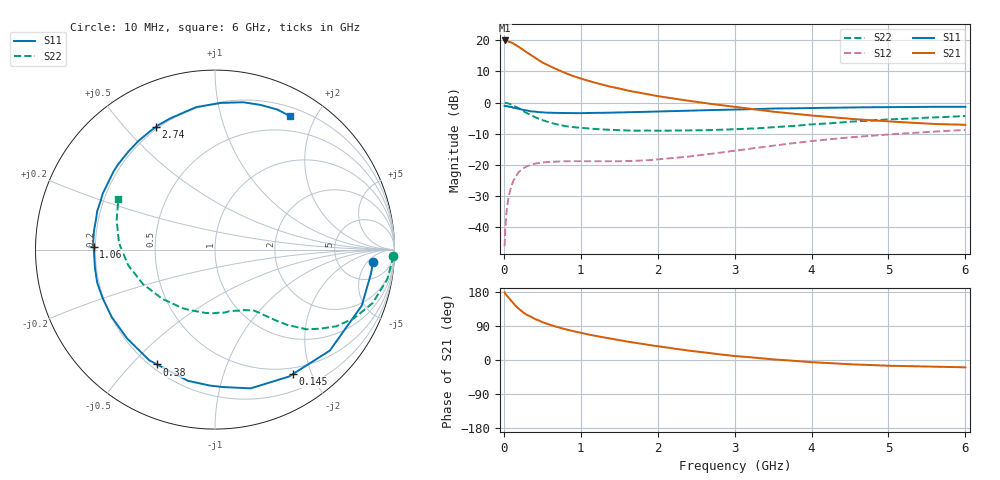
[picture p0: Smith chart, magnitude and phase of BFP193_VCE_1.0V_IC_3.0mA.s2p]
! Infineon Technologies  Discrete & RF Semiconductors
! BFP193
! VCE = 1.0 V,  IC =  3.0 mA
! Common Emitter S-Parameters:  Jan 2016
# GHz  S  MA  R  50
!  f  S11  S21  S12  S22
! GHz  MAG  ANG  MAG  ANG  MAG  ANG  MAG  ANG
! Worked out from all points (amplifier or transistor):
!   210 points, 10 MHz to 6 GHz, reference 50 ohm
!   highest |S21| = 20.0 dB at 10 MHz (marker M1)
!   |S21| within 3 dB of that: start of sweep to 248.8 MHz
!   unconditionally stable (mu >= 1): 1.427 GHz to 3.924 GHz
!   at 185 MHz: K = 0.15, MSG = 20.4 dB, |S12| = -22.7 dB
!   at 1.52 GHz: K = 1.05, MAG = 10.3 dB, |S12| = -18.9 dB
!   at 6 GHz: K = 0.99, MSG = 0.8 dB, |S12| = -8.8 dB
!   S11 on the Smith chart (normalised r, x): 10 MHz: 12, -7; 145 MHz: 0.41, -1.73; 380 MHz: 0.23, -0.59; 1.06 GHz: 0.19, +0.01; 2.74 GHz: 0.19, +0.61; 6 GHz: 0.31, +1.67
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0.01  0.883 -4.5  9.957 178.5  0.0049 90.3  0.9927 -2.0
0.02  0.8794 -8.7  9.824 174.4  0.0098 83.6  0.9887 -3.8
0.05  0.8752 -20.9  9.672 167.0  0.0245 78.0  0.9739 -9.8
0.1  0.8521 -41.3  9.232 155.0  0.0464 68.4  0.9276 -18.7
0.145  0.8181 -57.9  8.558 144.5  0.0622 59.3  0.8687 -25.6
0.2  0.7982 -75.6  7.784 134.2  0.0774 51.7  0.798 -32.4
0.24  0.7667 -87.0  7.171 127.5  0.0851 46.3  0.7431 -36.2
0.3  0.7464 -101.7  6.386 119.1  0.0944 40.2  0.6751 -41.1
0.38  0.7167 -116.8  5.489 111.0  0.1017 34.2  0.6011 -45.0
0.4  0.7174 -120.7  5.285 108.6  0.1037 32.8  0.5831 -46.1
0.5  0.6965 -134.6  4.412 99.8  0.1085 28.0  0.5216 -49.3
0.6  0.6873 -146.8  3.828 92.6  0.1116 24.5  0.4754 -51.9
0.8  0.6819 -164.2  2.979 81.1  0.1138 20.8  0.4176 -56.0
1.02  0.6747 -179.0  2.388 70.8  0.114 19.1  0.3897 -60.1
1.06  0.6766 178.6  2.31 69.1  0.1139 19.0  0.3856 -61.0
1.6  0.6989 153.7  1.568 48.8  0.1146 22.6  0.3558 -74.2
2.02  0.7196 137.9  1.258 35.8  0.1223 28.4  0.3519 -85.8
2.74  0.7585 115.6  0.935 16.6  0.1524 35.4  0.3625 -109.9
3.1  0.7756 106.5  0.822 9.0  0.1747 36.0  0.376 -122.9
4.1  0.8201 85.9  0.604 -6.8  0.2472 30.4  0.4518 -157.8
5.1  0.8461 71.2  0.489 -15.5  0.3126 19.2  0.5406 173.6
6  0.8528 60.6  0.438 -19.4  0.3624 8.0  0.6069 152.6
